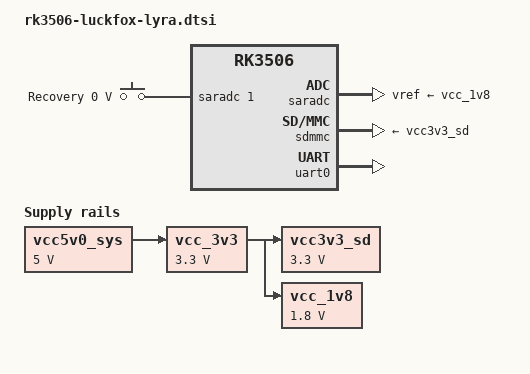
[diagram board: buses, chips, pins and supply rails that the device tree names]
// SPDX-License-Identifier: (GPL-2.0+ OR MIT)

#include <dt-bindings/input/input.h>
#include "rk3506.dtsi"

/ {
	chosen {
		stdout-path = "serial0:1500000n8";
	};

	adc-keys {
		compatible = "adc-keys";
		io-channels = <&saradc 1>;
		io-channel-names = "buttons";
		keyup-threshold-microvolt = <1800000>;
		poll-interval = <100>;

		button-recovery {
			label = "Recovery";
			linux,code = <KEY_VENDOR>;
			press-threshold-microvolt = <0>;
		};
	};

	vcc5v0_sys: regulator-5v0-sys {
		compatible = "regulator-fixed";
		regulator-name = "vcc5v0_sys";
		regulator-always-on;
		regulator-boot-on;
		regulator-min-microvolt = <5000000>;
		regulator-max-microvolt = <5000000>;
	};

	vcc_3v3: regulator-3v3 {
		compatible = "regulator-fixed";
		regulator-name = "vcc_3v3";
		regulator-always-on;
		regulator-boot-on;
		regulator-min-microvolt = <3300000>;
		regulator-max-microvolt = <3300000>;
		vin-supply = <&vcc5v0_sys>;
	};

	vcc3v3_sd: regulator-3v3-sd {
		compatible = "regulator-fixed";
		regulator-name = "vcc3v3_sd";
		regulator-always-on;
		regulator-boot-on;
		regulator-min-microvolt = <3300000>;
		regulator-max-microvolt = <3300000>;
		vin-supply = <&vcc_3v3>;
	};

	vcc_1v8: regulator-1v8 {
		compatible = "regulator-fixed";
		regulator-name = "vcc_1v8";
		regulator-always-on;
		regulator-boot-on;
		regulator-min-microvolt = <1800000>;
		regulator-max-microvolt = <1800000>;
		vin-supply = <&vcc_3v3>;
	};
};

&saradc {
	vref-supply = <&vcc_1v8>;
	status = "okay";
};

&sdmmc {
	cap-mmc-highspeed;
	cap-sd-highspeed;
	disable-wp;
	no-sdio;
	vmmc-supply = <&vcc3v3_sd>;
	status = "okay";
};

&uart0 {
	status = "okay";
};
